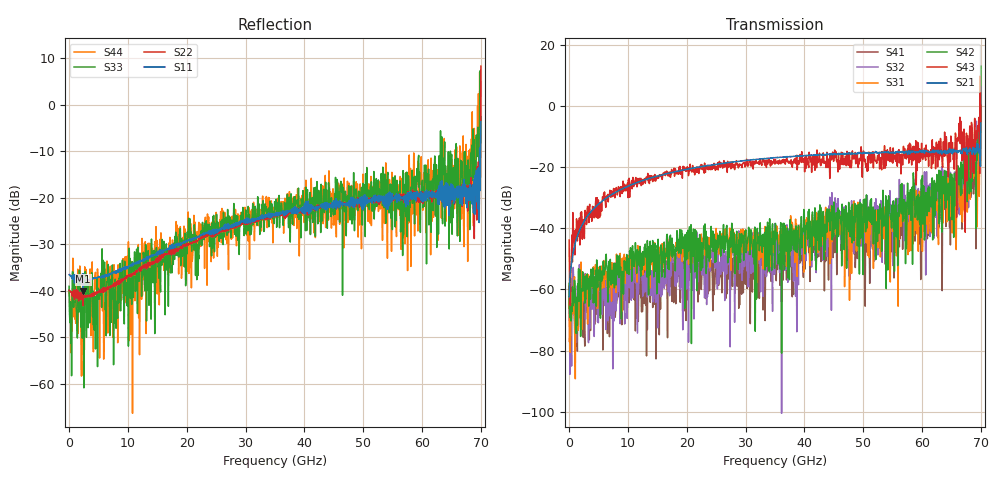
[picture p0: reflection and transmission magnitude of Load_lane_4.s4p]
!Pstart = -2.000000E+001
!Pstop = -1.000000E+001
!Pstep = 2.564103E-001
! 4/30/2026 1:06:30 PM
! C:\ANRITSUVNA\TEMP\TEMP.S4P
! CHANNEL.1
! TR.MEASUREMENT
! CORRECTED.DATA
! RF.CORRECTION: FULL.FOUR.PORT.CAL.PORT.1.2.3.4
! AVERAGING.OFF
! IF.BANDWIDTH: 100HZ
! SWEEPTYPE:  FREQ.SWEEP(Linear)
! Reference Plane Port Info
! DISTANCE:  0  m  0  m  0  m  0  m
! TIME:  0  s  0  s  0  s  0  s
! PHASE.OFFSET:  0 °  0 °  0 °  0 °
! LOSS:  0  dB  0  dB  0  dB  0  dB
! REF.LOSS:  0  dB  0  dB  0  dB  0  dB
! REF.FREQ:  0  Hz  0  Hz  0  Hz  0  Hz
! Power Info
! POWER:  -20  dBm  -20  dBm  -20  dBm  -20  dBm
! EFF.POWER:  -20  dBm  -20  dBm  -40  dBm  -40  dBm
! SOURCE.ATTEN:  0  dB  0  dB  20  dB  20  dB
! TEST.ATTEN:  0  dB  0  dB  20  dB  20  dB
! Created with skrf 1.9.0 (http://scikit-rf.org).
# Hz S RI R 50.0
!freq ReS11 ImS11 ReS12 ImS12 ReS13 ImS13
! ReS14 ImS14
! ReS21 ImS21 ReS22 ImS22 ReS23 ImS23
! ReS24 ImS24
! ReS31 ImS31 ReS32 ImS32 ReS33 ImS33
! ReS34 ImS34
! ReS41 ImS41 ReS42 ImS42 ReS43 ImS43
! ReS44 ImS44
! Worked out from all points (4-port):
!   1001 points, 10 MHz to 70 GHz, reference 50 ohm
!   strongest paths, dB at 10 MHz, 17.51 GHz, 35.01 GHz, 52.5 GHz, 70 GHz:
!     S21: -62.4, -21.8, -17.0, -15.3, -5.6
!     S43: -43.9, -22.0, -19.1, -16.2, -8.0
!     S42: -58.0, -43.3, -44.6, -34.0, 12.9
!     S31: -58.8, -47.7, -40.2, -46.3, -0.2
!     S32: -59.1, -51.0, -38.5, -48.7, 11.3
!     S41: -61.7, -63.9, -46.2, -42.5, 0.5
!   lowest |S11| = -40.1 dB at 2.39 GHz (marker M1), VSWR 1.02, Z = 49 + j0.176 ohm
!   |S11| at or under -10 dB: start of sweep to 69.79 GHz; 69.79516 GHz to 69.92814 GHz (133 MHz wide, 0.19 % of centre)
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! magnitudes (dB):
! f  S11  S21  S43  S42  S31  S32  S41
! 10 MHz  -36.5  -62.4  -43.9  -58.0  -58.8  -59.1  -61.7
! 2.39 GHz  -40.1  -38.3  -37.2  -57.9  -60.6  -60.0  -75.6
! 21.78 GHz  -28.6  -20.1  -21.1  -57.1  -44.4  -51.4  -50.2
! 62.37 GHz  -19.0  -15.0  -15.1  -26.5  -34.3  -29.5  -32.4
! 68.6 GHz  -17.8  -14.8  -17.4  -17.3  -19.1  -21.3  -19.0
! 69.44 GHz  -13.7  -14.3  -6.7  -8.6  -22.2  -9.7  -18.3
! 70 GHz  -3.7  -5.6  -8.0  12.9  -0.2  11.3  0.5
